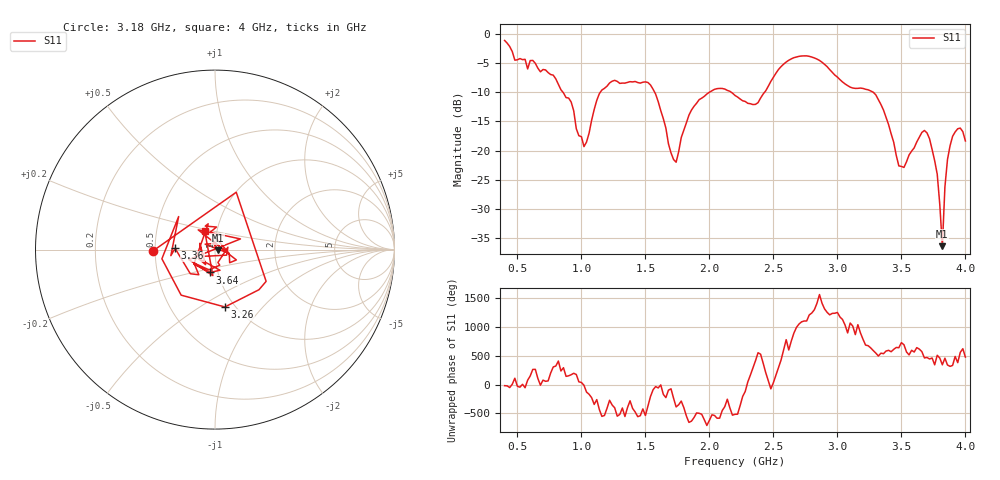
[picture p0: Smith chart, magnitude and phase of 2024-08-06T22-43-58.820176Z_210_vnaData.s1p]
!Created with skrf (http://scikit-rf.org).
# Hz S RI R 50.0
!freq ReS11 ImS11
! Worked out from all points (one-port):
!   181 points, 400 MHz to 4 GHz, reference 50 ohm
!   lowest |S11| = -36.4 dB at 3.82 GHz (marker M1), VSWR 1.03, Z = 51.5 - j0.395 ohm
!   |S11| at or under -10 dB: 855.7 MHz to 1.148 GHz (292.4 MHz wide, 29.2 % of centre); 1.572 GHz to 2 GHz (427.6 MHz wide, 23.9 % of centre); 3.28 GHz to end of sweep (the widest 3 of 4)
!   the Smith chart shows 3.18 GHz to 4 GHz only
!   S11 on the Smith chart (normalised r, x): 3.18 GHz: 0.49, -0.01; 3.26 GHz: 0.90, -0.64; 3.36 GHz: 0.64, +0.01; 3.64 GHz: 0.92, -0.24; 4 GHz: 0.87, +0.19
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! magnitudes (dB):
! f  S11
! 400 MHz  -1.1
! 860 MHz  -10.1
! 920 MHz  -11.7
! 1.02 GHz  -19.3
! 1.14 GHz  -10.3
! 1.3 GHz  -8.5
! 1.54 GHz  -8.8
! 1.72 GHz  -21.5
! 1.76 GHz  -20.2
! 1.92 GHz  -11.3
! 2.2 GHz  -10.6
! 2.36 GHz  -12.1
! 2.66 GHz  -4.1
! 3.1 GHz  -9.1
! 3.18 GHz  -9.3
! 3.26 GHz  -9.8
! 3.36 GHz  -13.1
! 3.48 GHz  -22.6
! 3.56 GHz  -20.8
! 3.64 GHz  -17.7
! 3.7 GHz  -17.0
! 3.76 GHz  -21.7
! 3.78 GHz  -24.1
! 3.82 GHz  -36.4
! 3.84 GHz  -26.3
! 3.88 GHz  -19.2
! 3.94 GHz  -16.3
! 4 GHz  -18.4
